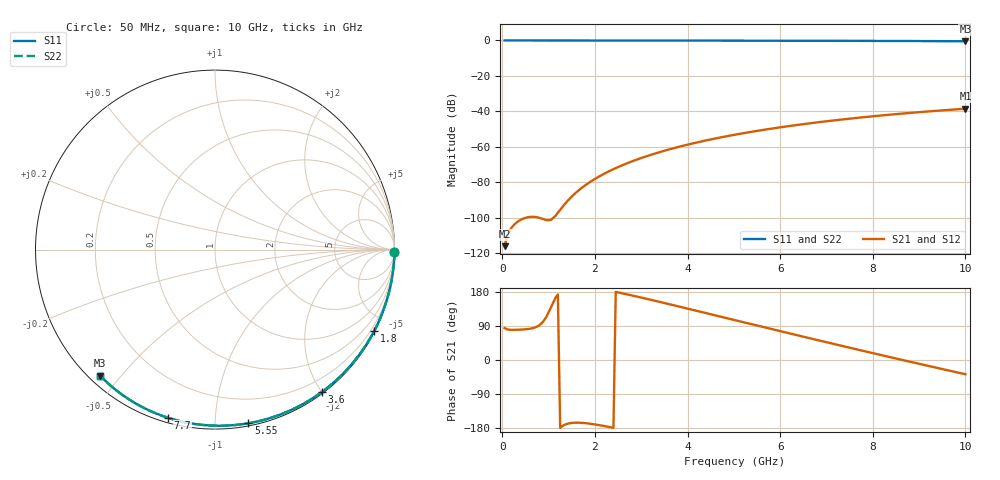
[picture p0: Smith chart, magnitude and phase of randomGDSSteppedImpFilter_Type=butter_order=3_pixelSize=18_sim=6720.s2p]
! freq	dB(S11)	phase(S11)	dB(S12)	phase(S12)
!  dB(S21)	phase(S21)	dB(S22)	phase(S22)
!S-par simulation data
#  GHz  S  DB  R 50
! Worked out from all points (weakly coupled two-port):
!   200 points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, 50 MHz to 10 GHz, reference 50 ohm
!   highest |S21| = -38.46 dB at 10 GHz (marker M1); lowest = -115.9 dB at 50 MHz (marker M2)
!   lowest |S11| = -0.4 dB at 10 GHz (marker M3), VSWR 39.33, Z = 1.52 - j22.1 ohm
!   |S11| at or under -10 dB: nowhere
!   |S22| runs from -0.4 to 0.0 dB; largest |S21 - S12| = 0
!   S11 on the Smith chart (normalised r, x): 50 MHz: open; 1.8 GHz: 0.04, -4.15; 3.6 GHz: 0.02, -2.01; 5.55 GHz: 0.02, -1.21; 7.7 GHz: 0.02, -0.76; 10 GHz: 0.03, -0.44
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0.05  -0.00 -0.8  -115.93 84.3  -115.93 84.3  -0.00 -0.8
0.9  -0.02 -13.7  -100.84 104.4  -100.84 104.4  -0.02 -13.7
1.75  -0.03 -26.3  -82.38 -166.1  -82.38 -166.1  -0.03 -26.3
1.8  -0.03 -27.1  -81.43 -166.7  -81.43 -166.7  -0.03 -27.1
1.85  -0.04 -27.8  -80.53 -167.4  -80.53 -167.4  -0.04 -27.8
1.9  -0.04 -28.6  -79.66 -168.2  -79.66 -168.2  -0.04 -28.6
2.05  -0.04 -30.8  -77.25 -171.0  -77.25 -171.0  -0.04 -30.8
2.25  -0.04 -33.7  -74.42 -175.4  -74.42 -175.4  -0.04 -33.7
2.45  -0.05 -36.6  -71.92 179.7  -71.92 179.7  -0.05 -36.6
2.65  -0.05 -39.5  -69.69 174.4  -69.69 174.4  -0.05 -39.5
3  -0.06 -44.5  -66.26 164.8  -66.26 164.8  -0.06 -44.5
3.4  -0.07 -50.2  -62.91 153.3  -62.91 153.3  -0.07 -50.2
3.6  -0.07 -53.0  -61.42 147.5  -61.42 147.5  -0.07 -53.0
4.3  -0.09 -62.6  -56.90 126.7  -56.90 126.7  -0.09 -62.6
5.05  -0.11 -72.6  -52.98 104.4  -52.98 104.4  -0.11 -72.6
5.55  -0.13 -79.1  -50.75 89.5  -50.75 89.5  -0.13 -79.1
6.1  -0.15 -86.1  -48.58 73.3  -48.58 73.3  -0.15 -86.1
6.7  -0.18 -93.6  -46.49 55.6  -46.49 55.6  -0.18 -93.6
7.7  -0.24 -105.7  -43.52 26.7  -43.52 26.7  -0.24 -105.7
8.35  -0.29 -113.3  -41.87 8.2  -41.87 8.2  -0.29 -113.3
9.15  -0.36 -122.6  -40.09 -14.2  -40.09 -14.2  -0.36 -122.6
10  -0.44 -132.3  -38.46 -37.5  -38.46 -37.5  -0.44 -132.3
